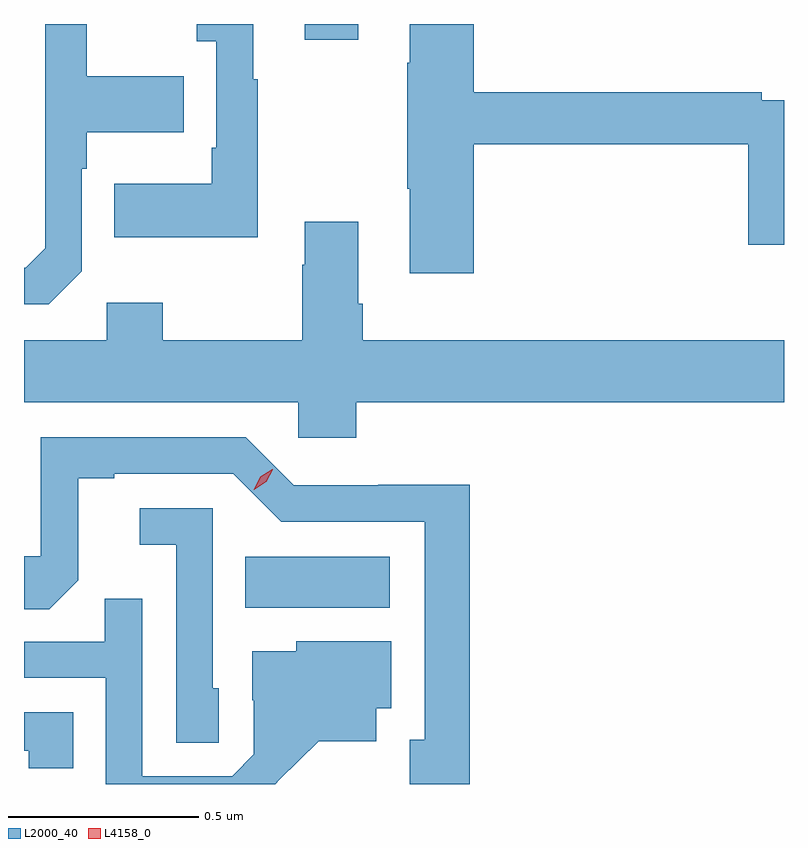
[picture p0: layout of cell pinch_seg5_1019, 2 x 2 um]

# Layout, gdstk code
import gdstk
lib = gdstk.Library(unit=1e-6, precision=1e-09)
def R(c, l, rs):  # rectangles x0, y0, x1, y1
    for r in rs: c.add(gdstk.rectangle(r[:2], r[2:], *l))
def P(c, l, *ps):  # polygons
    for p in ps: c.add(gdstk.Polygon(p, *l))
L2000_40 = (2000, 40)
L4158_0 = (4158, 0)

pinch_seg5_1019 = lib.new_cell('pinch_seg5_1019')
R(pinch_seg5_1019, L2000_40, [(734.326,882.86,734.707,882.994), (734.483,884.355,734.623,884.396)])
P(pinch_seg5_1019, L2000_40, [(733.896,883.746),(733.896,884.015),(733.909,884.015),(733.909,884.111),(734.165,884.111),(734.165,884.259),(733.909,884.259),(733.909,884.396),(733.8,884.396),(733.8,883.806),(733.749,883.755),(733.744,883.755),(733.744,883.659),(733.809,883.659)],
  [(734.359,884.251),(734.347,884.251),(734.347,884.396),(734.199,884.396),(734.199,884.351),(734.25,884.351),(734.25,884.071),(734.238,884.071),(734.238,883.975),(733.981,883.975),(733.981,883.835),(734.359,883.835)],
  [(734.927,884.08),(735.65,884.08),(735.65,883.815),(735.744,883.815),(735.744,884.196),(735.686,884.196),(735.686,884.216),(734.927,884.216),(734.927,884.396),(734.759,884.396),(734.759,884.294),(734.752,884.294),(734.752,883.963),(734.759,883.963),(734.759,883.74),(734.927,883.74)],
  [(734.618,883.4),(735.744,883.4),(735.744,883.564),(734.636,883.564),(734.636,883.66),(734.623,883.66),(734.623,883.876),(734.483,883.876),(734.483,883.763),(734.476,883.763),(734.476,883.564),(734.109,883.564),(734.109,883.663),(733.962,883.663),(733.962,883.564),(733.744,883.564),(733.744,883.4),(734.466,883.4),(734.466,883.307),(734.618,883.307)],
  [(734.917,883.184),(734.676,883.184),(734.676,883.182),(734.454,883.182),(734.328,883.308),(733.788,883.308),(733.788,882.996),(733.744,882.996),(733.744,882.856),(733.811,882.856),(733.887,882.932),(733.887,883.2),(733.981,883.2),(733.981,883.212),(734.295,883.212),(734.421,883.086),(734.798,883.086),(734.798,882.513),(734.759,882.513),(734.759,882.396),(734.917,882.396)],
  [(734.256,882.648),(734.241,882.648),(734.241,883.122),(734.049,883.122),(734.049,883.025),(734.145,883.025),(734.145,882.505),(734.256,882.505)],
  [(734.416,882.407),(734.519,882.509),(734.671,882.509),(734.671,882.596),(734.71,882.596),(734.71,882.772),(734.46,882.772),(734.46,882.745),(734.345,882.745),(734.345,882.616),(734.349,882.616),(734.349,882.474),(734.292,882.417),(734.055,882.417),(734.055,882.884),(733.957,882.884),(733.957,882.771),(733.744,882.771),(733.744,882.675),(733.959,882.675),(733.959,882.396),(734.405,882.396)],
  [(733.874,882.585),(733.744,882.585),(733.744,882.484),(733.756,882.484),(733.756,882.438),(733.874,882.438)])
P(pinch_seg5_1019, L4158_0, [(734.349,883.171),(734.349,883.171),(734.366,883.204),(734.397,883.224),(734.398,883.224),(734.398,883.223),(734.381,883.191),(734.35,883.171)])

lib.write_gds('pinch_seg5_1019.gds')
